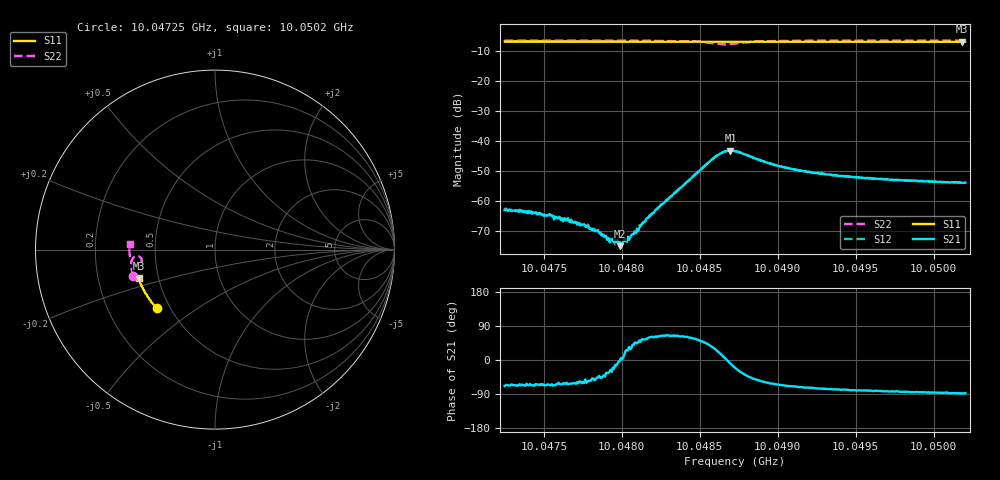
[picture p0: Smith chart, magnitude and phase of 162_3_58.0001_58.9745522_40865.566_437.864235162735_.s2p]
#  HZ  S  RI  R  50.00
! Rohde & Schwarz Vector Network Analyzer
! Rohde-Schwarz,ZNB20-2Port,1311601062101988,3.16
! Created: UTC 3/21/2024, 12:57:29 AM
! freq[Hz]  re:S11  im:S11  re:S21  im:S21  re:S12  im:S12  re:S22  im:S22
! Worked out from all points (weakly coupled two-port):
!   401 points, 10.04725 GHz to 10.0502 GHz, reference 50 ohm
!   highest |S21| = -43.18 dB at 10.0487 GHz (marker M1); lowest = -75.1 dB at 10.04799 GHz (marker M2)
!   lowest |S11| = -6.8 dB at 10.05018 GHz (marker M3), VSWR 2.67, Z = 19.3 - j7.85 ohm
!   |S11| at or under -10 dB: nowhere
!   |S22| runs from -7.7 to -6.4 dB; largest |S21 - S12| = 0.0005
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1.0047248e10  -0.3253 -0.3258  0.000256 -0.000657  0.000326 -0.000653  -0.455 -0.1495
1.0047544e10  -0.3384 -0.3113  0.000228 -0.000539  0.00027 -0.000518  -0.4604 -0.1293
1.004764e10  -0.3425 -0.3065  0.00022 -0.00042  0.000269 -0.000434  -0.462 -0.1224
1.0047743e10  -0.347 -0.3011  0.000195 -0.00035  0.000208 -0.00033  -0.4636 -0.1149
1.0047839e10  -0.3509 -0.2961  0.000214 -0.000228  0.000236 -0.000191  -0.4646 -0.1077
1.0047891e10  -0.353 -0.2932  0.000179 -0.000173  0.000216 -0.000131  -0.4652 -0.1038
1.0047921e10  -0.3541 -0.2918  0.000178 -0.000108  0.000207 -0.000108  -0.4656 -0.1014
1.0047972e10  -0.3563 -0.289  0.00022 -3.51e-05  0.000202 -1.83e-05  -0.4661 -0.0973
1.0047987e10  -0.3568 -0.2882  0.000176 -5.38e-06  0.00021 1.12e-05  -0.4662 -0.096
1.0048039e10  -0.3589 -0.2855  0.000229 0.000109  0.00021 0.00012  -0.4665 -0.0916
1.0048083e10  -0.3607 -0.2832  0.000204 0.000213  0.000216 0.000228  -0.4667 -0.0878
1.0048127e10  -0.3625 -0.2809  0.00024 0.000333  0.000219 0.000333  -0.4669 -0.0839
1.0048238e10  -0.3667 -0.2748  0.000369 0.000696  0.000296 0.000726  -0.4665 -0.0731
1.0048586e10  -0.3791 -0.2555  0.00429 0.00275  0.00415 0.00303  -0.4278 -0.0366
1.0048645e10  -0.381 -0.2522  0.0063 0.00134  0.00626 0.0017  -0.4109 -0.0497
1.0048696e10  -0.3827 -0.2497  0.00684 -0.00113  0.00692 -0.000693  -0.4097 -0.0706
1.0048726e10  -0.3837 -0.2482  0.00636 -0.00236  0.00655 -0.00196  -0.4162 -0.0801
1.0048992e10  -0.393 -0.2331  0.00171 -0.00353  0.00193 -0.00349  -0.4647 -0.0676
1.0049221e10  -0.4002 -0.2197  0.000855 -0.00283  0.000982 -0.00286  -0.4727 -0.0447
1.0049716e10  -0.4142 -0.1903  0.000261 -0.00226  0.000417 -0.00225  -0.4767 -0.00545
1.0050182e10  -0.4253 -0.1616  6.05e-05 -0.00201  0.000167 -0.00199  -0.476 0.0275
1.0050204e10  -0.4259 -0.1604  9.15e-05 -0.00203  0.00019 -0.00201  -0.4758 0.029
